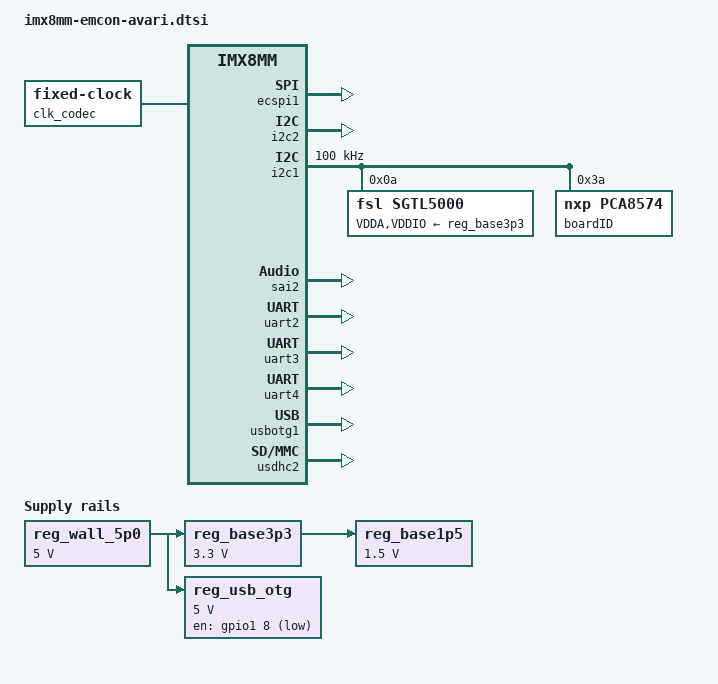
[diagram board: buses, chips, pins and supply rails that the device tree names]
// SPDX-License-Identifier: (GPL-2.0 or MIT)
//
// Copyright (C) 2021 emtrion GmbH
// Author: Frank Erdrich <frank.erdrich@emtrion.com>
//

/ {
	aliases {
		boardid = &boardID;
		mmc0 = &usdhc1;
		mmc1 = &usdhc2;
	};

	chosen {
		stdout-path = &uart1;
	};

	reg_wall_5p0: regulator-wall5p0 {
		compatible = "regulator-fixed";
		regulator-name = "Main-Supply";
		regulator-min-microvolt = <5000000>;
		regulator-max-microvolt = <5000000>;
		regulator-always-on;
		regulator-boot-on;
	};

	reg_base3p3: regulator-base3p3 {
		compatible = "regulator-fixed";
		vin-supply = <&reg_wall_5p0>;
		regulator-name = "3V3-avari";
		regulator-min-microvolt = <3300000>;
		regulator-max-microvolt = <3300000>;
		regulator-always-on;
		regulator-boot-on;
	};

	reg_base1p5: regulator-base1p5 {
		compatible = "regulator-fixed";
		vin-supply = <&reg_base3p3>;
		regulator-name = "1V5-avari";
		regulator-min-microvolt = <1500000>;
		regulator-max-microvolt = <1500000>;
		regulator-always-on;
		regulator-boot-on;
	};

	reg_usb_otg: regulator-otgvbus {
		compatible = "regulator-fixed";
		vin-supply = <&reg_wall_5p0>;
		regulator-name = "OTG_VBUS";
		regulator-min-microvolt = <5000000>;
		regulator-max-microvolt = <5000000>;
		gpio = <&gpio1 8 GPIO_ACTIVE_LOW>;
		regulator-always-on;
	};

	clk_codec: clock-codec {
		compatible = "fixed-clock";
		#clock-cells = <0>;
		clock-frequency = <12000000>;
	};

	sound {
		compatible = "simple-audio-card";
		simple-audio-card,name = "SGTL5000-Card";
		simple-audio-card,format = "i2s";
		simple-audio-card,bitclock-master = <&codec_dai>;
		simple-audio-card,frame-master = <&codec_dai>;
		simple-audio-card,widgets = "Headphone", "Headphone Jack";
		simple-audio-card,routing = "Headphone Jack", "HP_OUT";

		cpu_dai: simple-audio-card,cpu {
			sound-dai = <&sai2>;
		};

		codec_dai: simple-audio-card,codec {
			sound-dai = <&sgtl5000>;
		};
	};
};

&ecspi1 {
	status = "okay";
};

&i2c2 {
	status = "okay";
};

&i2c1 {
	clock-frequency = <100000>;
	status = "okay";

	sgtl5000: audio-codec@a {
		compatible = "fsl,sgtl5000";
		reg = <0x0a>;
		#sound-dai-cells = <0>;
		clocks = <&clk_codec>;
		VDDA-supply = <&reg_base3p3>;
		VDDIO-supply = <&reg_base3p3>;
	};

	boardID: gpio@3a {
		compatible = "nxp,pca8574";
		reg = <0x3a>;
		gpio-controller;
		#gpio-cells = <1>;
	};
};

&sai2 {
	status = "okay";
};

&uart2 {
	uart-has-rtscts;
	status = "okay";
};

&uart3 {
	status = "okay";
};

&uart4 {
	status = "okay";
};

&usbotg1 {
	status = "okay";
};

&usbotg2 {
	dr_mode = "host";
	status = "disabled";
};

&usdhc2 {
	status = "okay";
};
